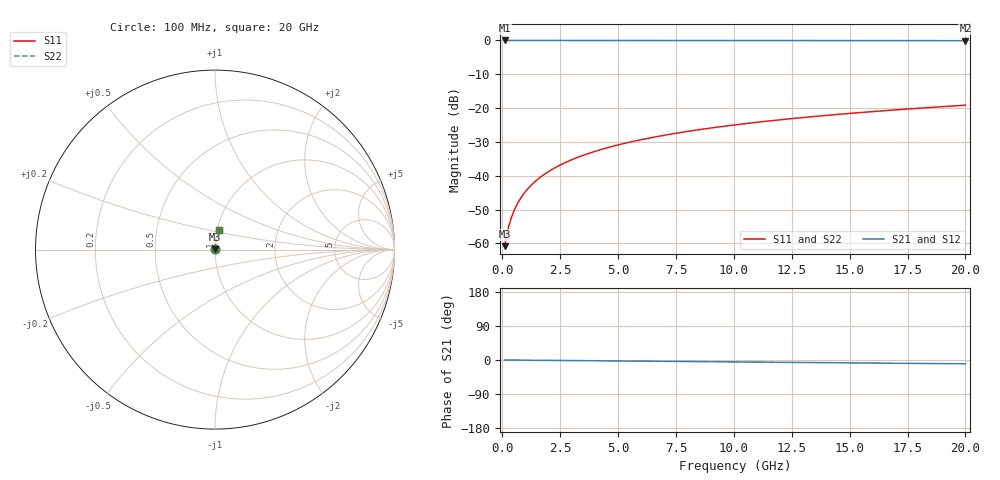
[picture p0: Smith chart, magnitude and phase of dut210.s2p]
! Touchstone file exported from HFSS 2026.1.0
!  File:  C:/ffzhzh/LocalFiles/Ansys_Project_Files/temp_train_TSV_210_1782991969_40604.aedt
!  Generated:  07:35:09 PM Jul  2, 2026
!  Design:  TSV
!  Project:  temp_train_TSV_210_1782991969_40604
! Variables:
!  h_bsmrdl = 2um
!  h_ox = 20um
!  h_rdl = 5um
!  h_sub = 73.48um
!  h_tmrdl = 5um
!  h_tsv = 73.48um
!  h_via = 3um
!  l_bsmrdl = 300um
!  l_sub = 407.12um
!  l_tmrdl = 200um
!  m_sub = 200um
!  pitch = 48.62um
!  r_tsv = 3.56um
!  s_tmrdl = 10um
!  w_bsmrdl = 18um
!  w_sub = 500um
!  w_tmrdl = 12um
!  x_tsv_center1 = 206um
!  x_tsv_center2 = 524um
!  x_tsv_center3 = 736um
!  x_tsv_center4 = 1054um
!  x_tsv_center5 = 1266um
!  x_tsv_center6 = 1584um
# GHz S MA R 50.000000
! Terminal data exported
! Port[1] = TSV1_1_T1
! Port[2] = TSV1_1_T2
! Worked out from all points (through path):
!   200 points, 100 MHz to 20 GHz, reference 50 ohm
!   highest |S21| = -0.01 dB at 100 MHz (marker M1); lowest = -0.1 dB at 20 GHz (marker M2)
!   group delay of S21, straight-line fit = 1.4 ps
!   lowest |S11| = -60.8 dB at 100 MHz (marker M3), VSWR 1.00, Z = 50.1 + j0.0589 ohm
!   |S11| at or under -10 dB: start of sweep to end of sweep
!   |S22| runs from -60.8 to -19.2 dB; largest |S21 - S12| = 2e-15
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0.1  0.000908 40.4  0.9993 -0.1  0.9993 -0.1  0.000908 40.4
! Gamma 0 0 0 0
! Port Impedance 50 0 50 0
0.2  0.001366 59.1  0.9993 -0.1  0.9993 -0.1  0.001366 59.1
0.3  0.001891 67.8  0.9993 -0.2  0.9993 -0.2  0.001891 67.8
0.4  0.002438 72.7  0.9993 -0.2  0.9993 -0.2  0.002438 72.7
0.5  0.002995 75.7  0.9993 -0.3  0.9993 -0.3  0.002995 75.7
0.6  0.003556 77.8  0.9993 -0.3  0.9993 -0.3  0.003556 77.8
0.8  0.004688 80.4  0.9992 -0.4  0.9992 -0.4  0.004688 80.4
1.1  0.006396 82.6  0.9992 -0.6  0.9992 -0.6  0.006396 82.6
1.5  0.008681 84.0  0.9992 -0.8  0.9992 -0.8  0.008681 84.0
1.8  0.0104 84.5  0.9991 -0.9  0.9991 -0.9  0.0104 84.5
2.1  0.01211 84.9  0.9991 -1.1  0.9991 -1.1  0.01211 84.9
2.7  0.01553 85.2  0.999 -1.4  0.999 -1.4  0.01553 85.2
3.5  0.02007 85.3  0.9988 -1.8  0.9988 -1.8  0.02007 85.3
4.2  0.02402 85.2  0.9986 -2.2  0.9986 -2.2  0.02402 85.2
5  0.02852 85.0  0.9984 -2.6  0.9984 -2.6  0.02852 85.0
5.9  0.03354 84.6  0.9981 -3.0  0.9981 -3.0  0.03354 84.6
6.8  0.03855 84.3  0.9978 -3.5  0.9978 -3.5  0.03855 84.3
8.3  0.04683 83.7  0.9972 -4.2  0.9972 -4.2  0.04683 83.7
10.1  0.05672 83.0  0.9965 -5.1  0.9965 -5.1  0.05672 83.0
13.4  0.07471 81.5  0.995 -6.8  0.995 -6.8  0.07471 81.5
16.7  0.09254 80.1  0.9933 -8.4  0.9933 -8.4  0.09254 80.1
20  0.1102 78.6  0.9913 -10.1  0.9913 -10.1  0.1102 78.6
